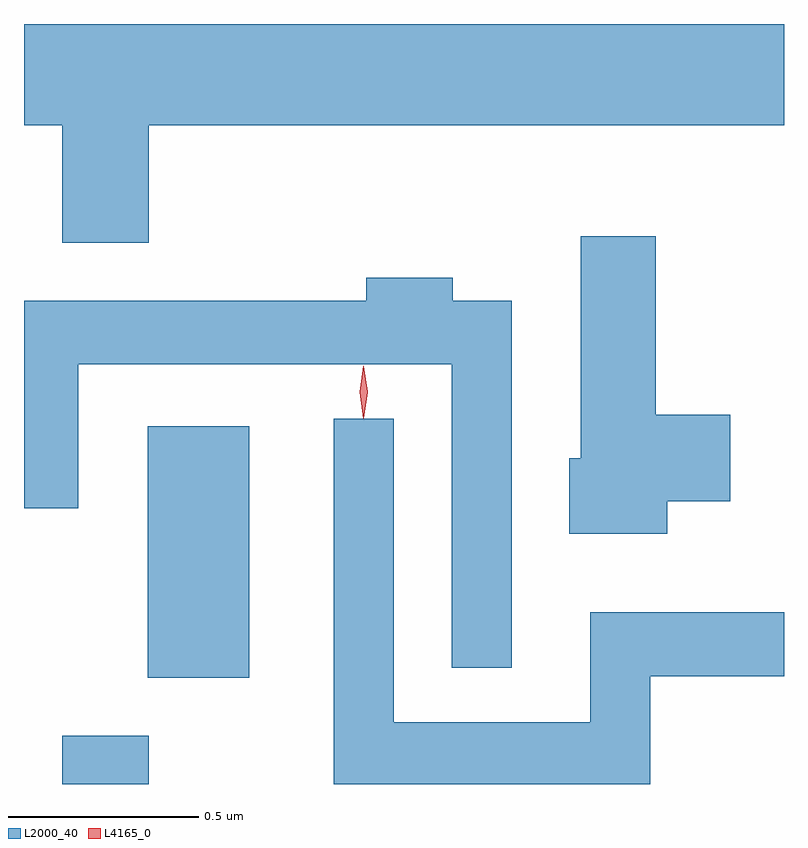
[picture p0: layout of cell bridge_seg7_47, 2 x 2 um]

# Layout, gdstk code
import gdstk
lib = gdstk.Library(unit=1e-6, precision=1e-09)
def R(c, l, rs):  # rectangles x0, y0, x1, y1
    for r in rs: c.add(gdstk.rectangle(r[:2], r[2:], *l))
def P(c, l, *ps):  # polygons
    for p in ps: c.add(gdstk.Polygon(p, *l))
L2000_40 = (2000, 40)
L4165_0 = (4165, 0)

bridge_seg7_47 = lib.new_cell('bridge_seg7_47')
R(bridge_seg7_47, L2000_40, [(1555.921,1803.602,1556.149,1803.729), (1556.146,1803.881,1556.414,1804.544)])
P(bridge_seg7_47, L2000_40, [(1556.149,1805.336),(1557.821,1805.336),(1557.821,1805.602),(1555.821,1805.602),(1555.821,1805.336),(1555.921,1805.336),(1555.921,1805.026),(1556.149,1805.026)],
  [(1557.514,1804.346),(1557.679,1804.346),(1557.679,1804.574),(1557.484,1804.574),(1557.484,1805.044),(1557.286,1805.044),(1557.286,1804.459),(1557.256,1804.459),(1557.256,1804.261),(1557.514,1804.261)],
  [(1557.104,1804.874),(1556.949,1804.874),(1556.949,1804.934),(1556.721,1804.934),(1556.721,1804.874),(1555.821,1804.874),(1555.821,1804.328),(1555.964,1804.328),(1555.964,1804.706),(1556.946,1804.706),(1556.946,1803.908),(1557.104,1803.908)],
  [(1557.469,1803.886),(1557.821,1803.886),(1557.821,1804.054),(1557.311,1804.054),(1557.311,1803.764),(1556.794,1803.764),(1556.794,1804.563),(1556.636,1804.563),(1556.636,1803.602),(1557.469,1803.602)])
P(bridge_seg7_47, L4165_0, [(1556.715,1804.563),(1556.714,1804.564),(1556.705,1804.633),(1556.714,1804.702),(1556.715,1804.703),(1556.715,1804.702),(1556.725,1804.633),(1556.715,1804.564)],
  [(1556.715,1804.567),(1556.714,1804.568),(1556.705,1804.634),(1556.714,1804.7),(1556.715,1804.701),(1556.715,1804.7),(1556.725,1804.634),(1556.715,1804.568)])

lib.write_gds('bridge_seg7_47.gds')
